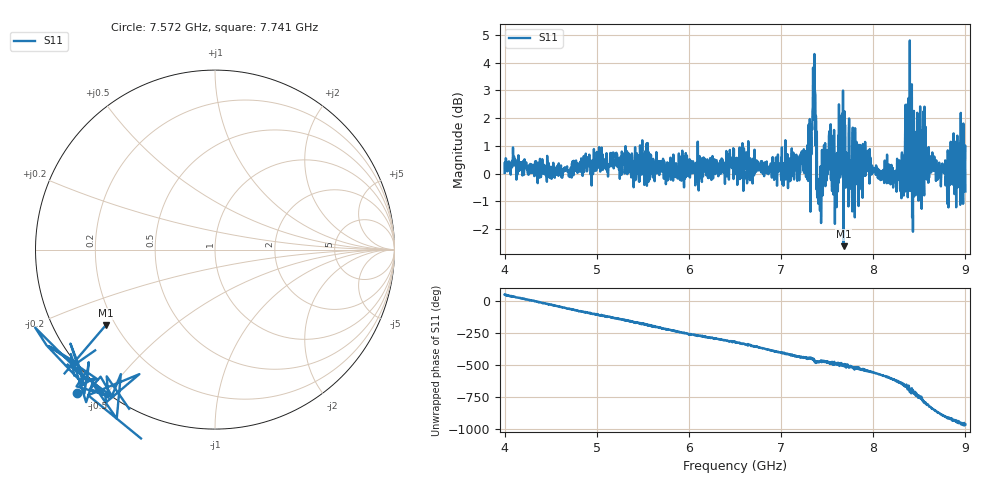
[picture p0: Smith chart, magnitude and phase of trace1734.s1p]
! Created with skrf 1.8.0 (http://scikit-rf.org).
# Hz S RI R 50.0
!freq ReS11 ImS11
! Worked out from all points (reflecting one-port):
!   1601 points, 4 GHz to 9 GHz, reference 50 ohm
!   lowest |S11| = -2.6 dB at 7.678 GHz (marker M1), VSWR 6.69, Z = 8.19 - j15.2 ohm
!   phase of S11 starts at 54 deg and turns -1015 deg over the sweep
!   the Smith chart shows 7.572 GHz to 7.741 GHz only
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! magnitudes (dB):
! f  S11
! 4 GHz  0.0
! 4.625 GHz  -0.2
! 5.25 GHz  -0.2
! 5.875 GHz  0.2
! 6.5 GHz  0.5
! 7.125 GHz  0.5
! 7.294 GHz  -0.3
! 7.356 GHz  3.1
! 7.366 GHz  3.0
! 7.4 GHz  -0.6
! 7.416 GHz  -1.0
! 7.519 GHz  1.3
! 7.609 GHz  0.1
! 7.647 GHz  1.3
! 7.678 GHz  -2.6
! 7.75 GHz  -0.2
! 7.775 GHz  1.0
! 7.8 GHz  -1.6
! 7.928 GHz  0.5
! 8.316 GHz  0.1
! 8.375 GHz  -0.9
! 8.447 GHz  1.2
! 8.459 GHz  -0.8
! 8.512 GHz  0.2
! 8.522 GHz  1.6
! 8.794 GHz  -0.2
! 8.959 GHz  1.7
! 9 GHz  -0.6
